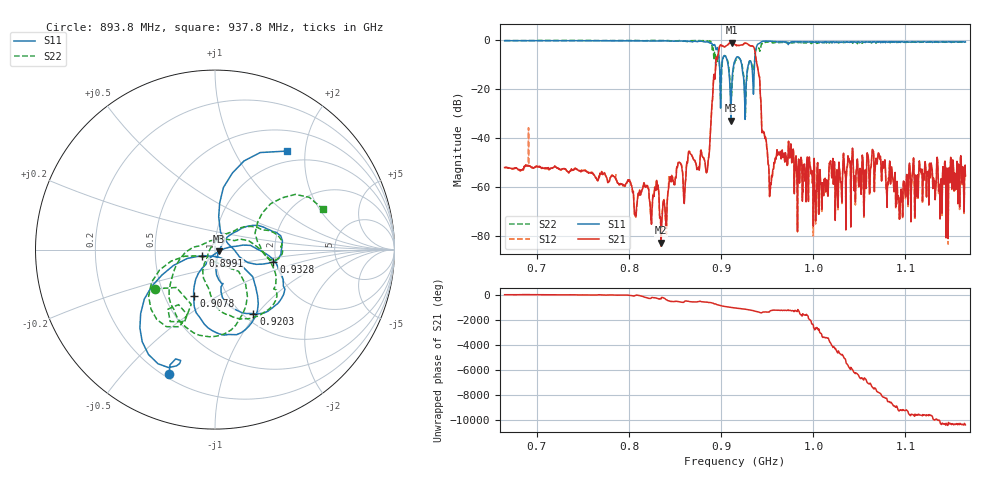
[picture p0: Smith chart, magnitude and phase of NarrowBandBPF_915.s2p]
# HZ S RI R 50
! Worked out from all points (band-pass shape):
!   1601 points, 665 MHz to 1.165 GHz, reference 50 ohm
!   highest |S21| = -0.98 dB at 911.2 MHz (marker M1); lowest = -82.7 dB at 834.7 MHz (marker M2)
!   |S21| within 3 dB of the highest: 897.4 MHz to 936.4 MHz (39.07 MHz wide, 4.26 % of centre)
!   lowest |S11| = -32.8 dB at 910.6 MHz (marker M3), VSWR 1.05, Z = 52.1 - j1.03 ohm
!   |S11| at or under -10 dB: 907.4 MHz to 913.6 MHz (6.189 MHz wide, 0.68 % of centre); 922.3 MHz to 929.5 MHz (7.188 MHz wide, 0.776 % of centre); 932.9991 MHz to 936.1447 MHz (3.146 MHz wide, 0.337 % of centre)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
!   |S22| runs from -31.2 to -0.1 dB; largest |S21 - S12| = 0.03
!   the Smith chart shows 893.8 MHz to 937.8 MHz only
!   S11 on the Smith chart (normalised r, x): 893.8 MHz: 0.22, -0.68; 899.1 MHz: 0.87, -0.06; 907.8 MHz: 0.70, -0.39; 920.3 MHz: 1.11, -0.96; 932.8 MHz: 1.93, -0.30; 937.8 MHz: 0.81, +1.66
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6.65e8  0.7603 -0.6208  0.00204 0.00149  0.00199 0.00148  0.5732 -0.8066
7.484375e8  0.7064 -0.6804  0.00204 0.000822  0.00208 0.000881  0.4953 -0.86
8.31875e8  0.5848 -0.77  0.000288 0.00087  0.000267 0.000857  0.3329 -0.9337
8.346875e8  0.5828 -0.7765  4.33e-05 5.95e-05  -4.13e-05 4.67e-05  0.322 -0.9392
8.540625e8  0.5158 -0.8201  -0.00312 -0.00079  -0.00319 -0.000756  0.2362 -0.961
8.846875e8  0.1582 -0.9196  -0.00192 0.000775  -0.00195 0.000843  -0.2783 -0.9335
8.9375e8  -0.2552 -0.6957  0.2306 0.0795  0.2277 0.0772  -0.3357 -0.2188
8.990625e8  -0.0702 -0.033  -0.3358 -0.7306  -0.3445 -0.7259  -0.0963 -0.0344
9.078125e8  -0.1189 -0.2592  -0.5315 0.643  -0.5155 0.6662  -0.2486 -0.1907
9.10625e8  0.0206 -0.00986  -0.0918 0.8864  -0.0845 0.8824  -0.0259 0.0489
9.1125e8  0.0905 0.0159  0.0222 0.8931  0.0291 0.8888  0.0488 0.0591
9.15e8  0.3643 -0.1294  0.5178 0.6396  0.5202 0.6331  0.3384 -0.139
9.203125e8  0.214 -0.3568  0.7828 0.1066  0.7821 0.1007  0.1625 -0.385
9.259375e8  0.0175 -0.0168  0.6106 -0.6229  0.6036 -0.6272  -0.0375 -0.0158
9.328125e8  0.3255 -0.0695  -0.4955 -0.5803  -0.4964 -0.5771  0.3536 -0.0481
9.378125e8  0.3991 0.5489  -0.2715 0.304  -0.2725 0.3133  0.603 0.2243
9.53125e8  0.9451 -0.1686  -0.000866 0.000161  -0.000878 0.000153  0.8313 -0.3782
9.753125e8  0.8447 -0.3371  -0.00537 -0.00425  -0.00554 -0.00411  0.6918 -0.547
9.984375e8  0.8058 -0.4353  -0.00191 -0.00107  -0.00195 -0.000943  0.6679 -0.5993
1.081875e9  0.7727 -0.5319  0.000392 0.0015  0.000398 0.00143  0.5902 -0.7171
1.094688e9  0.7624 -0.5216  -0.000361 0.000335  -0.000389 0.000334  0.5783 -0.6978
1.165e9  0.7371 -0.568  0.0016 0.000587  0.00153 0.000544  0.5657 -0.7229
